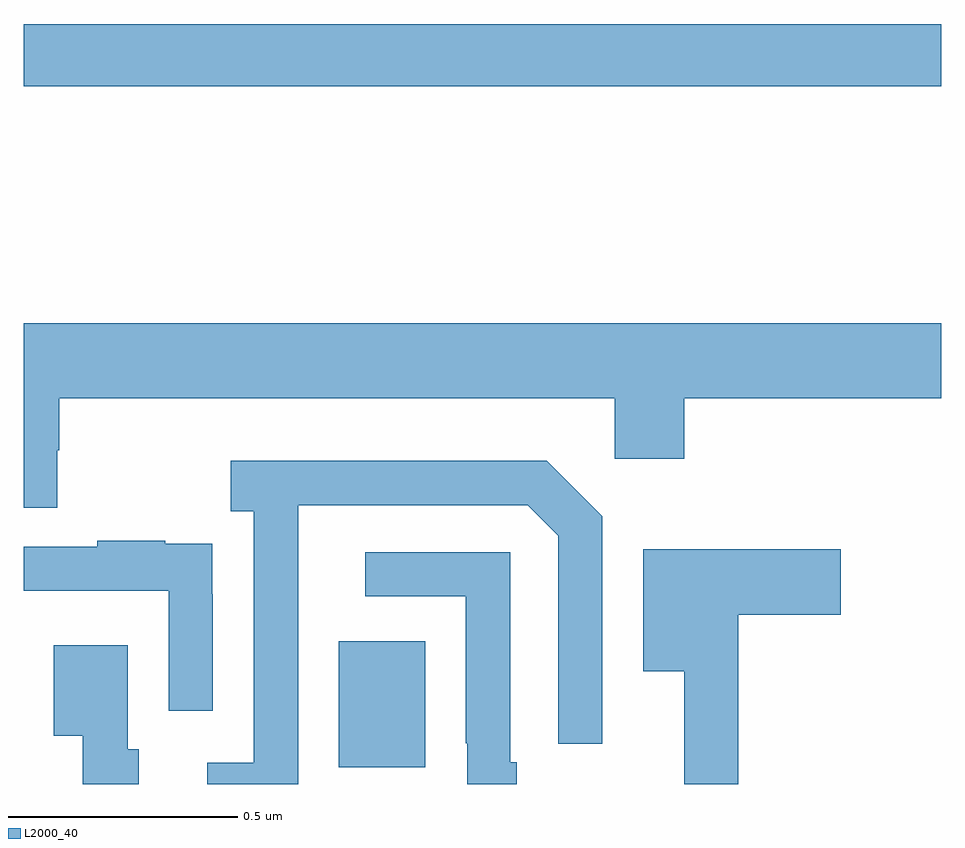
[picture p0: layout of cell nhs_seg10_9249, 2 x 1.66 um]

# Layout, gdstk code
import gdstk
lib = gdstk.Library(unit=1e-6, precision=1e-09)
def R(c, l, rs):  # rectangles x0, y0, x1, y1
    for r in rs: c.add(gdstk.rectangle(r[:2], r[2:], *l))
def P(c, l, *ps):  # polygons
    for p in ps: c.add(gdstk.Polygon(p, *l))
L2000_40 = (2000, 40)

nhs_seg10_9249 = lib.new_cell('nhs_seg10_9249')
R(nhs_seg10_9249, L2000_40, [(227.687,1275.537,227.875,1275.811), (227,1277.02,229,1277.156)])
P(nhs_seg10_9249, L2000_40, [(227.073,1276.227),(227.078,1276.227),(227.078,1276.34),(228.288,1276.34),(228.288,1276.209),(228.44,1276.209),(228.44,1276.34),(229,1276.34),(229,1276.504),(227,1276.504),(227,1276.102),(227.073,1276.102)],
  [(227.598,1275.907),(227.599,1275.907),(227.599,1276.107),(228.099,1276.107),(228.165,1276.041),(228.165,1275.588),(228.261,1275.588),(228.261,1276.083),(228.14,1276.204),(227.451,1276.204),(227.451,1276.094),(227.502,1276.094),(227.502,1275.546),(227.4,1275.546),(227.4,1275.5),(227.598,1275.5)],
  [(227.412,1275.914),(227.411,1275.914),(227.411,1276.023),(227.309,1276.023),(227.309,1276.03),(227.161,1276.03),(227.161,1276.017),(227,1276.017),(227,1275.921),(227.316,1275.921),(227.316,1275.66),(227.412,1275.66)],
  [(228.557,1275.869),(228.781,1275.869),(228.781,1276.011),(228.35,1276.011),(228.35,1275.746),(228.44,1275.746),(228.44,1275.5),(228.557,1275.5)],
  [(228.075,1275.547),(228.06,1275.547),(228.06,1276.005),(227.745,1276.005),(227.745,1275.909),(227.964,1275.909),(227.964,1275.589),(227.967,1275.589),(227.967,1275.5),(228.075,1275.5)],
  [(227.251,1275.576),(227.227,1275.576),(227.227,1275.802),(227.066,1275.802),(227.066,1275.605),(227.129,1275.605),(227.129,1275.5),(227.251,1275.5)])

lib.write_gds('nhs_seg10_9249.gds')
